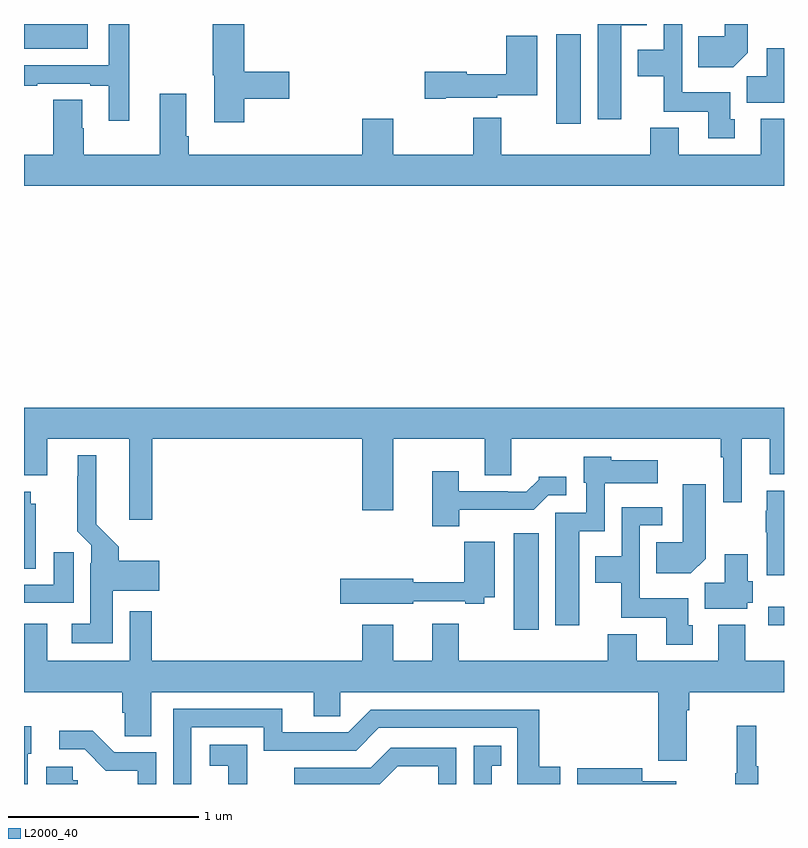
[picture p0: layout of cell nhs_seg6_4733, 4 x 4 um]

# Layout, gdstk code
import gdstk
lib = gdstk.Library(unit=1e-6, precision=1e-09)
def R(c, l, rs):  # rectangles x0, y0, x1, y1
    for r in rs: c.add(gdstk.rectangle(r[:2], r[2:], *l))
def P(c, l, *ps):  # polygons
    for p in ps: c.add(gdstk.Polygon(p, *l))
L2000_40 = (2000, 40)

nhs_seg6_4733 = lib.new_cell('nhs_seg6_4733')
R(nhs_seg6_4733, L2000_40, [(393.578,966.312,393.709,966.82), (394.917,966.336,395,966.432), (393.8,968.976,393.931,969.445), (391,969.371,391.336,969.5)])
P(nhs_seg6_4733, L2000_40, [(392.159,969.106),(392.395,969.106),(392.395,969.248),(392.159,969.248),(392.159,969.5),(391.993,969.5),(391.993,969.231),(392,969.231),(392,968.982),(392.159,968.982)],
  [(391.555,969.5),(391.446,969.5),(391.446,969.282),(391,969.282),(391,969.174),(391.07,969.174),(391.07,969.186),(391.349,969.186),(391.349,969.174),(391.445,969.174),(391.445,968.991),(391.555,968.991)],
  [(394.144,969.494),(394.278,969.494),(394.278,969.5),(394.019,969.5),(394.019,969),(394.144,969)],
  [(394.81,969.35),(394.81,969.5),(394.688,969.5),(394.688,969.436),(394.549,969.436),(394.549,969.272),(394.732,969.272)],
  [(394.741,969),(394.717,969),(394.717,969.142),(394.464,969.142),(394.464,969.5),(394.368,969.5),(394.368,969.364),(394.229,969.364),(394.229,969.224),(394.366,969.224),(394.366,969.038),(394.601,969.038),(394.601,968.898),(394.741,968.898)],
  [(393.22,969.113),(393.492,969.113),(393.492,969.125),(393.7,969.125),(393.7,969.439),(393.538,969.439),(393.538,969.235),(393.33,969.235),(393.33,969.248),(393.108,969.248),(393.108,969.106),(393.22,969.106)],
  [(395,969.373),(394.91,969.373),(394.91,969.224),(394.805,969.224),(394.805,969.086),(395,969.086)],
  [(395,969.001),(394.877,969.001),(394.877,968.812),(394.447,968.812),(394.447,968.953),(394.295,968.953),(394.295,968.812),(393.511,968.812),(393.511,969.007),(393.364,969.007),(393.364,968.812),(392.944,968.812),(392.944,969.001),(392.78,969.001),(392.78,968.812),(391.868,968.812),(391.868,968.908),(391.855,968.908),(391.855,969.133),(391.715,969.133),(391.715,968.812),(391.314,968.812),(391.314,968.951),(391.306,968.951),(391.306,969.101),(391.154,969.101),(391.154,968.812),(391,968.812),(391,968.648),(395,968.648)],
  [(391.676,967.316),(392.78,967.316),(392.78,966.942),(392.944,966.942),(392.944,967.316),(393.425,967.316),(393.425,967.126),(393.565,967.126),(393.565,967.316),(394.668,967.316),(394.668,967.22),(394.68,967.22),(394.68,966.984),(394.777,966.984),(394.777,967.316),(394.925,967.316),(394.925,967.129),(395,967.129),(395,967.48),(391,967.48),(391,967.124),(391.123,967.124),(391.123,967.316),(391.553,967.316),(391.553,966.891),(391.676,966.891)],
  [(391.468,966.518),(391.711,966.518),(391.711,966.676),(391.499,966.676),(391.499,966.75),(391.381,966.868),(391.381,967.231),(391.283,967.231),(391.283,967.121),(391.279,967.121),(391.279,966.83),(391.353,966.756),(391.353,966.662),(391.349,966.662),(391.349,966.343),(391.251,966.343),(391.251,966.242),(391.468,966.242)],
  [(393.922,966.83),(394.056,966.83),(394.056,967.082),(394.336,967.082),(394.336,967.204),(394.092,967.204),(394.092,967.222),(393.947,967.222),(393.947,967.086),(393.96,967.086),(393.96,966.927),(393.797,966.927),(393.797,966.336),(393.922,966.336)],
  [(393.292,966.944),(393.683,966.944),(393.759,967.02),(393.853,967.02),(393.853,967.117),(393.708,967.117),(393.708,967.102),(393.644,967.038),(393.545,967.038),(393.545,967.041),(393.289,967.041),(393.289,967.147),(393.149,967.147),(393.149,966.857),(393.292,966.857)],
  [(394.588,966.686),(394.588,967.078),(394.466,967.078),(394.466,966.772),(394.327,966.772),(394.327,966.608),(394.51,966.608)],
  [(395,967.044),(394.91,967.044),(394.91,966.938),(394.903,966.938),(394.903,966.825),(394.91,966.825),(394.91,966.6),(395,966.6)],
  [(391.063,966.975),(391.036,966.975),(391.036,967.039),(391,967.039),(391,966.634),(391.063,966.634)],
  [(394.519,966.336),(394.495,966.336),(394.495,966.478),(394.242,966.478),(394.242,966.861),(394.36,966.861),(394.36,966.957),(394.146,966.957),(394.146,966.7),(394.007,966.7),(394.007,966.56),(394.144,966.56),(394.144,966.374),(394.379,966.374),(394.379,966.234),(394.519,966.234)],
  [(393.048,966.462),(393.323,966.462),(393.323,966.45),(393.423,966.45),(393.423,966.482),(393.478,966.482),(393.478,966.775),(393.316,966.775),(393.316,966.563),(393.048,966.563),(393.048,966.579),(392.664,966.579),(392.664,966.449),(393.048,966.449)],
  [(391.261,966.721),(391.157,966.721),(391.157,966.549),(391,966.549),(391,966.453),(391.261,966.453)],
  [(394.806,966.453),(394.836,966.453),(394.836,966.567),(394.81,966.567),(394.81,966.709),(394.688,966.709),(394.688,966.56),(394.583,966.56),(394.583,966.422),(394.806,966.422)],
  [(394.489,965.888),(394.502,965.888),(394.502,965.984),(395,965.984),(395,966.148),(394.795,966.148),(394.795,966.337),(394.655,966.337),(394.655,966.148),(394.225,966.148),(394.225,966.289),(394.073,966.289),(394.073,966.148),(393.289,966.148),(393.289,966.343),(393.149,966.343),(393.149,966.148),(392.944,966.148),(392.944,966.337),(392.78,966.337),(392.78,966.148),(391.673,966.148),(391.673,966.409),(391.557,966.409),(391.557,966.148),(391.123,966.148),(391.123,966.343),(391,966.343),(391,965.984),(391.517,965.984),(391.517,965.875),(391.53,965.875),(391.53,965.752),(391.669,965.752),(391.669,965.984),(392.525,965.984),(392.525,965.857),(392.664,965.857),(392.664,965.984),(394.337,965.984),(394.337,965.622),(394.489,965.622)],
  [(391.881,965.799),(392.262,965.799),(392.262,965.676),(392.748,965.676),(392.868,965.796),(393.597,965.796),(393.597,965.5),(393.822,965.5),(393.822,965.59),(393.713,965.59),(393.713,965.892),(392.826,965.892),(392.706,965.772),(392.359,965.772),(392.359,965.895),(391.785,965.895),(391.785,965.5),(391.881,965.5)],
  [(394.864,965.593),(394.853,965.593),(394.853,965.806),(394.75,965.806),(394.75,965.556),(394.743,965.556),(394.743,965.5),(394.864,965.5)],
  [(391.02,965.658),(391.039,965.658),(391.039,965.803),(391,965.803),(391,965.5),(391.02,965.5)],
  [(391.695,965.667),(391.476,965.667),(391.363,965.78),(391.185,965.78),(391.185,965.682),(391.319,965.682),(391.43,965.571),(391.599,965.571),(391.599,965.5),(391.695,965.5)],
  [(392.174,965.501),(392.175,965.501),(392.175,965.707),(391.977,965.707),(391.977,965.597),(392.075,965.597),(392.075,965.5),(392.174,965.5)],
  [(393.463,965.595),(393.512,965.595),(393.512,965.701),(393.366,965.701),(393.366,965.5),(393.463,965.5)],
  [(392.966,965.594),(393.18,965.594),(393.18,965.5),(393.276,965.5),(393.276,965.691),(392.93,965.691),(392.825,965.586),(392.422,965.586),(392.422,965.5),(392.872,965.5)],
  [(391.284,965.52),(391.257,965.52),(391.257,965.59),(391.118,965.59),(391.118,965.5),(391.284,965.5)],
  [(394.432,965.515),(394.255,965.515),(394.255,965.584),(393.911,965.584),(393.911,965.5),(394.432,965.5)])

lib.write_gds('nhs_seg6_4733.gds')
